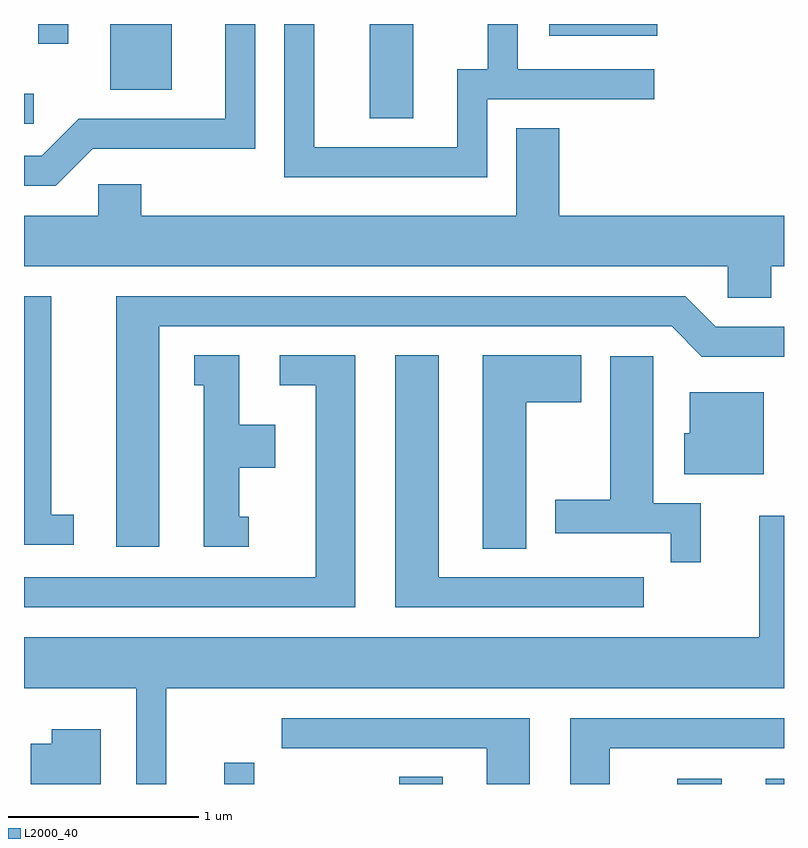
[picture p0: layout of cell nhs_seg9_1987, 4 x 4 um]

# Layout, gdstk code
import gdstk
lib = gdstk.Library(unit=1e-6, precision=1e-09)
def R(c, l, rs):  # rectangles x0, y0, x1, y1
    for r in rs: c.add(gdstk.rectangle(r[:2], r[2:], *l))
def P(c, l, *ps):  # polygons
    for p in ps: c.add(gdstk.Polygon(p, *l))
L2000_40 = (2000, 40)

nhs_seg9_1987 = lib.new_cell('nhs_seg9_1987')
R(nhs_seg9_1987, L2000_40, [(244.666,1982.432,244.824,1982.543), (245.586,1982.432,245.814,1982.469), (247.048,1982.432,247.284,1982.459), (247.516,1982.432,247.611,1982.459), (243.611,1985.906,243.663,1986.064), (245.431,1985.936,245.659,1986.432), (244.066,1986.086,244.389,1986.432), (243.686,1986.328,243.844,1986.432), (246.376,1986.371,246.944,1986.432)])
P(nhs_seg9_1987, L2000_40, [(243.972,1985.776),(244.829,1985.776),(244.829,1986.432),(244.671,1986.432),(244.671,1985.934),(243.899,1985.934),(243.704,1985.739),(243.611,1985.739),(243.611,1985.581),(243.777,1985.581)],
  [(246.049,1986.036),(246.928,1986.036),(246.928,1986.194),(246.209,1986.194),(246.209,1986.432),(246.051,1986.432),(246.051,1986.194),(245.891,1986.194),(245.891,1985.784),(245.139,1985.784),(245.139,1986.432),(244.981,1986.432),(244.981,1985.626),(246.049,1985.626)],
  [(247.544,1985.156),(247.611,1985.156),(247.611,1985.424),(246.429,1985.424),(246.429,1985.884),(246.201,1985.884),(246.201,1985.424),(244.229,1985.424),(244.229,1985.589),(244.001,1985.589),(244.001,1985.424),(243.611,1985.424),(243.611,1985.156),(247.316,1985.156),(247.316,1984.991),(247.544,1984.991)],
  [(243.873,1983.849),(243.754,1983.849),(243.754,1984.999),(243.611,1984.999),(243.611,1983.691),(243.873,1983.691)],
  [(244.324,1984.841),(247.019,1984.841),(247.179,1984.681),(247.611,1984.681),(247.611,1984.839),(247.252,1984.839),(247.092,1984.999),(244.096,1984.999),(244.096,1983.681),(244.324,1983.681)],
  [(246.254,1984.441),(246.544,1984.441),(246.544,1984.689),(246.026,1984.689),(246.026,1983.671),(246.254,1983.671)],
  [(244.793,1983.839),(244.744,1983.839),(244.744,1984.096),(244.934,1984.096),(244.934,1984.324),(244.744,1984.324),(244.744,1984.689),(244.508,1984.689),(244.508,1984.531),(244.556,1984.531),(244.556,1983.681),(244.793,1983.681)],
  [(245.354,1984.689),(244.958,1984.689),(244.958,1984.531),(245.146,1984.531),(245.146,1983.519),(243.611,1983.519),(243.611,1983.361),(245.354,1983.361)],
  [(246.873,1983.519),(245.794,1983.519),(245.794,1984.689),(245.566,1984.689),(245.566,1983.361),(246.873,1983.361)],
  [(247.174,1983.909),(246.924,1983.909),(246.924,1984.684),(246.696,1984.684),(246.696,1983.929),(246.406,1983.929),(246.406,1983.751),(247.016,1983.751),(247.016,1983.598),(247.174,1983.598)],
  [(247.504,1984.494),(247.116,1984.494),(247.116,1984.279),(247.086,1984.279),(247.086,1984.061),(247.504,1984.061)],
  [(244.359,1982.936),(247.611,1982.936),(247.611,1983.843),(247.481,1983.843),(247.481,1983.204),(243.611,1983.204),(243.611,1982.936),(244.201,1982.936),(244.201,1982.432),(244.359,1982.432)],
  [(246.694,1982.621),(247.611,1982.621),(247.611,1982.779),(246.486,1982.779),(246.486,1982.432),(246.694,1982.432)],
  [(246.274,1982.779),(244.968,1982.779),(244.968,1982.621),(246.046,1982.621),(246.046,1982.432),(246.274,1982.432)],
  [(244.014,1982.719),(243.756,1982.719),(243.756,1982.644),(243.646,1982.644),(243.646,1982.432),(244.014,1982.432)])

lib.write_gds('nhs_seg9_1987.gds')
